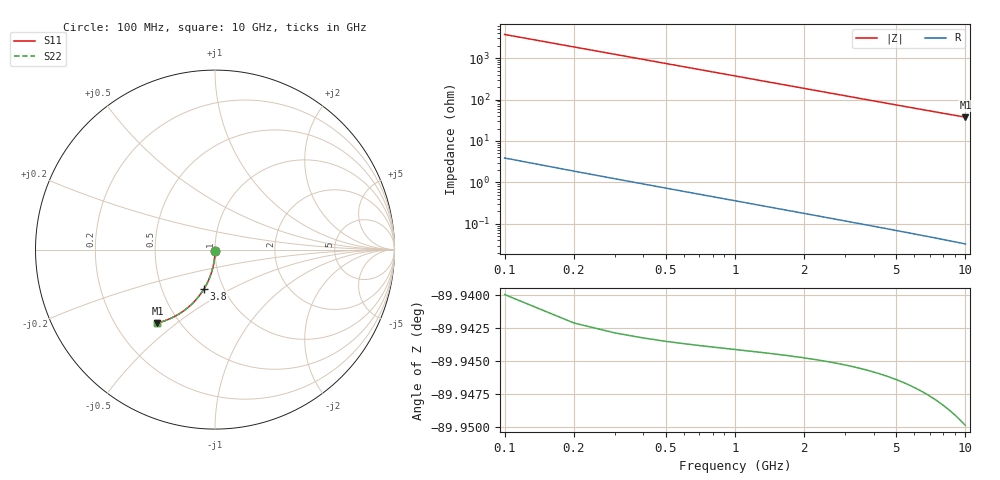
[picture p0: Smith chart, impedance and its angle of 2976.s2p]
# Hz S RI R 50.00
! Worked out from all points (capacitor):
!   100 points, 100 MHz to 10 GHz, reference 50 ohm
!   read as one part in shunt: C = 429 fF near 100 MHz
!   lowest |Z| = 37.6 ohm at 10 GHz (marker M1)
!   S11 on the Smith chart (normalised r, x): 100 MHz: 1.00, -0.01; 3.8 GHz: 0.81, -0.37; 10 GHz: 0.38, -0.43
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1e8  9.16e-05 -0.00617  0.9998 -0.00731  0.9998 -0.00731  9.16e-05 -0.00617
2e8  -4.93e-05 -0.0123  0.9997 -0.0146  0.9997 -0.0146  -4.93e-05 -0.0123
3e8  -0.000281 -0.0185  0.9994 -0.0219  0.9994 -0.0219  -0.000281 -0.0185
4e8  -0.000602 -0.0247  0.9991 -0.0292  0.9991 -0.0292  -0.000602 -0.0247
5e8  -0.00101 -0.0308  0.9987 -0.0365  0.9987 -0.0365  -0.00101 -0.0308
6e8  -0.00152 -0.037  0.9982 -0.0438  0.9982 -0.0438  -0.00152 -0.037
7e8  -0.00211 -0.0431  0.9976 -0.0511  0.9976 -0.0511  -0.00211 -0.0431
8e8  -0.00279 -0.0492  0.9969 -0.0584  0.9969 -0.0584  -0.00279 -0.0492
9e8  -0.00356 -0.0553  0.9961 -0.0656  0.9961 -0.0656  -0.00356 -0.0553
1.1e9  -0.00536 -0.0675  0.9943 -0.0801  0.9943 -0.0801  -0.00536 -0.0675
1.4e9  -0.00873 -0.0856  0.9908 -0.1017  0.9908 -0.1017  -0.00873 -0.0856
1.8e9  -0.0144 -0.1095  0.9851 -0.1301  0.9851 -0.1301  -0.0144 -0.1095
2.1e9  -0.0196 -0.127  0.9798 -0.1511  0.9798 -0.1511  -0.0196 -0.127
2.5e9  -0.0276 -0.15  0.9717 -0.1787  0.9717 -0.1787  -0.0276 -0.15
2.9e9  -0.0369 -0.1723  0.9623 -0.2056  0.9623 -0.2056  -0.0369 -0.1723
3.4e9  -0.0501 -0.1991  0.9488 -0.2383  0.9488 -0.2383  -0.0501 -0.1991
3.8e9  -0.0619 -0.2197  0.9368 -0.2635  0.9368 -0.2635  -0.0619 -0.2197
4.4e9  -0.0815 -0.2489  0.9169 -0.2997  0.9169 -0.2997  -0.0815 -0.2489
5.1e9  -0.1068 -0.2802  0.8911 -0.3392  0.8911 -0.3392  -0.1068 -0.2802
6.7e9  -0.1722 -0.3396  0.8244 -0.4175  0.8244 -0.4175  -0.1722 -0.3396
8.4e9  -0.2482 -0.3838  0.7467 -0.4821  0.7467 -0.4821  -0.2482 -0.3838
1e10  -0.3206 -0.4087  0.672 -0.5265  0.672 -0.5265  -0.3206 -0.4087
